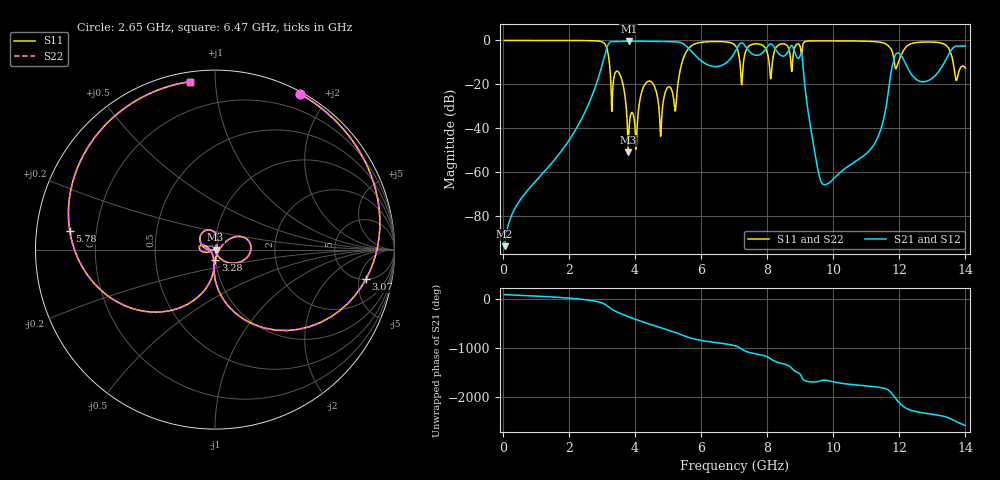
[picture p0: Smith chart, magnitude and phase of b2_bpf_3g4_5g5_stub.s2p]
! kicad2ems mom25d 2.5D MoM (bpf)
! ports: 1=P1, 2=P2
# Hz S RI R 50
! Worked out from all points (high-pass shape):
!   1396 points, 50 MHz to 14 GHz, reference 50 ohm
!   highest |S21| = -0.31 dB at 3.81 GHz (marker M1); lowest = -93.5 dB at 50 MHz (marker M2)
!   |S21| within 3 dB of the highest: 3.148 GHz to 5.604 GHz (2.456 GHz wide, 56.1 % of centre); 13.63 GHz to end of sweep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
!   lowest |S11| = -50.9 dB at 3.79 GHz (marker M3), VSWR 1.01, Z = 50.3 - j0.003 ohm
!   |S11| at or under -10 dB: 3.22 GHz to 5.422 GHz (2.202 GHz wide, 51 % of centre); 11.85 GHz to 11.97 GHz (116.2 MHz wide, 0.976 % of centre); 13.63 GHz to end of sweep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
!   |S22| runs from -51.0 to 0.0 dB; largest |S21 - S12| = 1e-06
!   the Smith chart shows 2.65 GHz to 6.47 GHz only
!   S11 on the Smith chart (normalised r, x): 2.65 GHz: 0.02, +1.68; 3.07 GHz: 5.06, -6.29; 3.28 GHz: 1.00, -0.11; 5.78 GHz: 0.10, +0.06; 6.47 GHz: 0.05, +0.86
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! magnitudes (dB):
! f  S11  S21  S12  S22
! 50 MHz  0.0  -93.5  -93.5  0.0
! 2.38 GHz  -0.1  -35.7  -35.7  -0.1
! 2.65 GHz  -0.1  -26.9  -26.9  -0.1
! 3.07 GHz  -1.3  -7.3  -7.3  -1.3
! 3.28 GHz  -24.9  -0.5  -0.5  -24.9
! 3.55 GHz  -15.8  -0.4  -0.4  -15.8
! 3.79 GHz  -50.9  -0.3  -0.3  -51.0
! 3.81 GHz  -42.2  -0.3  -0.3  -42.2
! 4.36 GHz  -18.9  -0.4  -0.4  -18.9
! 4.7 GHz  -27.9  -0.4  -0.4  -27.9
! 5.78 GHz  -1.8  -6.1  -6.1  -1.8
! 6.47 GHz  -0.5  -11.9  -11.9  -0.5
! 7.03 GHz  -2.3  -5.1  -5.1  -2.3
! 8.76 GHz  -11.5  -2.5  -2.5  -11.5
! 9.05 GHz  -5.9  -6.6  -6.6  -5.9
! 9.35 GHz  -0.2  -42.9  -42.9  -0.2
! 9.85 GHz  -0.2  -65.0  -65.0  -0.2
! 11.22 GHz  -0.5  -47.6  -47.6  -0.5
! 11.68 GHz  -2.7  -21.5  -21.5  -2.7
! 11.93 GHz  -11.6  -5.7  -5.7  -11.6
! 12.76 GHz  -0.7  -18.8  -18.8  -0.7
! 14 GHz  -12.6  -2.6  -2.6  -12.6
